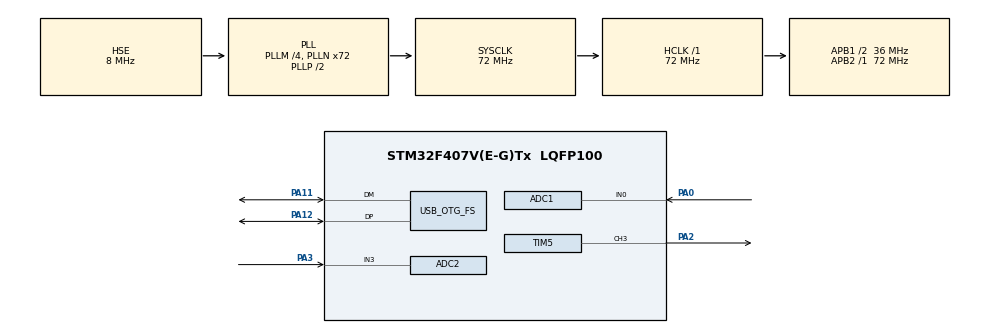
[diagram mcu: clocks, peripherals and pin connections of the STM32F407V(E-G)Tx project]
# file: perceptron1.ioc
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ADC1.Channel-0\#ChannelRegularConversion=ADC_CHANNEL_0
ADC1.ClockPrescaler=ADC_CLOCK_SYNC_PCLK_DIV4
ADC1.ContinuousConvMode=ENABLE
ADC1.NbrOfConversionFlag=1
ADC1.Rank-0\#ChannelRegularConversion=1
ADC1.SamplingTime-0\#ChannelRegularConversion=ADC_SAMPLETIME_3CYCLES
ADC1.master=1
ADC2.Channel-3\#ChannelRegularConversion=ADC_CHANNEL_3
ADC2.ClockPrescaler=ADC_CLOCK_SYNC_PCLK_DIV4
ADC2.NbrOfConversionFlag=1
ADC2.Rank-3\#ChannelRegularConversion=1
ADC2.SamplingTime-3\#ChannelRegularConversion=ADC_SAMPLETIME_3CYCLES
Mcu.Family=STM32F4
Mcu.Name=STM32F407V(E-G)Tx
Mcu.Package=LQFP100
NVIC.OTG_FS_IRQn=true\:0\:0\:false\:false\:true\:false\:true\:true
NVIC.PriorityGroup=NVIC_PRIORITYGROUP_4
PA0-WKUP.Signal=ADCx_IN0
PA11.Mode=Device_Only
PA11.Signal=USB_OTG_FS_DM
PA12.Mode=Device_Only
PA12.Signal=USB_OTG_FS_DP
PA13.Mode=Serial_Wire
PA13.Signal=SYS_JTMS-SWDIO
PA14.Mode=Serial_Wire
PA14.Signal=SYS_JTCK-SWCLK
PA2.Signal=S_TIM5_CH3
PA3.Signal=ADCx_IN3
PH0-OSC_IN.Mode=HSE-External-Oscillator
PH0-OSC_IN.Signal=RCC_OSC_IN
PH1-OSC_OUT.Mode=HSE-External-Oscillator
PH1-OSC_OUT.Signal=RCC_OSC_OUT
ProjectManager.HeapSize=0x200
ProjectManager.StackSize=0x400
ProjectManager.TargetToolchain=STM32CubeIDE
RCC.48MHZClocksFreq_Value=48000000
RCC.AHBFreq_Value=72000000
RCC.APB1CLKDivider=RCC_HCLK_DIV2
RCC.APB1Freq_Value=36000000
RCC.APB1TimFreq_Value=72000000
RCC.APB2Freq_Value=72000000
RCC.APB2TimFreq_Value=72000000
RCC.CortexFreq_Value=72000000
RCC.HCLKFreq_Value=72000000
RCC.HSE_VALUE=8000000
RCC.HSI_VALUE=16000000
RCC.LSE_VALUE=32768
RCC.PLLM=4
RCC.PLLN=72
RCC.PLLQ=3
RCC.PLLSourceVirtual=RCC_PLLSOURCE_HSE
RCC.SYSCLKFreq_VALUE=72000000
RCC.SYSCLKSource=RCC_SYSCLKSOURCE_PLLCLK
RCC.VCOOutputFreq_Value=144000000
SH.ADCx_IN0.0=ADC1_IN0,IN0
SH.ADCx_IN3.0=ADC2_IN3,IN3
SH.S_TIM5_CH3.0=TIM5_CH3,PWM Generation3 CH3
TIM2.AutoReloadPreload=TIM_AUTORELOAD_PRELOAD_DISABLE
TIM2.Period=10000-1
TIM2.Prescaler=72-1
TIM5.AutoReloadPreload=TIM_AUTORELOAD_PRELOAD_DISABLE
TIM5.Channel-PWM\ Generation3\ CH3=TIM_CHANNEL_3
TIM5.Period=10000-1
TIM5.Prescaler=72-1
TIM5.Pulse-PWM\ Generation3\ CH3=8000-1
USB_DEVICE.CLASS_NAME_FS=CDC
USB_DEVICE.VirtualMode-CDC_FS=Cdc
USB_DEVICE.VirtualModeFS=Cdc_FS
USB_OTG_FS.VirtualMode=Device_Only
VP_TIM2_VS_ClockSourceINT.Mode=Internal
VP_TIM5_VS_ClockSourceINT.Mode=Internal
VP_USB_DEVICE_VS_USB_DEVICE_CDC_FS.Mode=CDC_FS
board=custom

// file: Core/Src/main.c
/* USER CODE BEGIN Header */
/**
  ******************************************************************************
  * @file           : main.c
  * @brief          : Main program body
  ******************************************************************************
  * @attention
  *
  * Copyright (c) 2023 STMicroelectronics.
  * All rights reserved.
  *
  * This software is licensed under terms that can be found in the LICENSE file
  * in the root directory of this software component.
  * If no LICENSE file comes with this software, it is provided AS-IS.
  *
  ******************************************************************************
  */
/* USER CODE END Header */
#include "main.h"
#include "usb_device.h"

/* USER CODE BEGIN Includes */
//THİS İS AN AND GATE OPERATİON
#include "usb_device.h"
#include "usbd_cdc_if.h"
#include "string.h"
#include <stdio.h>
#include <stdlib.h>
#include<time.h>

/* USER CODE END Includes */

/* USER CODE BEGIN PTD */
#define input_size 2
typedef struct {
    double weights[input_size + 1];  // +1 for the bias term
} Perceptron;
volatile float weight_1;
volatile float weight_2;
volatile float voltage_1 = 0;
volatile float voltage_2=0;
/* USER CODE END PTD */

/* USER CODE BEGIN PD */
uint8_t buffer[3];
#define res_12bit 	4096
/* USER CODE END PD */

ADC_HandleTypeDef hadc1;
ADC_HandleTypeDef hadc2;

TIM_HandleTypeDef htim2;
TIM_HandleTypeDef htim5;

/* USER CODE BEGIN PV */
#define INPUT SIZE 2
/* USER CODE END PV */

void SystemClock_Config(void);
static void MX_GPIO_Init(void);
static void MX_ADC1_Init(void);
static void MX_TIM2_Init(void);
static void MX_ADC2_Init(void);
static void MX_TIM5_Init(void);

/* USER CODE BEGIN 0 */
int predict(Perceptron* percep, double inputs[]) {
    double sum = percep->weights[0];
    for (int i = 0; i < input_size; i++) {

        sum += inputs[i] * percep->weights[i + 1];
    }
    return (sum >= 0) ? 1 : 0;
}
void train(Perceptron* percep, double inputs[][input_size], int labels[], double learning_rate, int epochs, int num_examples) {
    for (int epoch = 0; epoch < epochs; epoch++) {
        for (int example = 0; example < num_examples; example++) {
            double prediction = predict(percep, inputs[example]);
            double error = labels[example] - prediction;
            percep->weights[0] += learning_rate * error;
            for (int i = 0; i < input_size; i++) {
                percep->weights[i + 1] += learning_rate * error * inputs[example][i];
            }
        }
    }
}

/* USER CODE END 0 */

int main(void)
{

  /* MCU Configuration--------------------------------------------------------*/

  /* Reset of all peripherals, Initializes the Flash interface and the Systick. */
  HAL_Init();

  /* Configure the system clock */
  SystemClock_Config();

  /* Initialize all configured peripherals */
  MX_GPIO_Init();
  MX_ADC1_Init();
  MX_TIM2_Init();
  MX_ADC2_Init();
  MX_TIM5_Init();
  MX_USB_DEVICE_Init();
  /* USER CODE BEGIN 2 */
  Perceptron percep;
  int count=0;
  HAL_TIM_PWM_Start(&htim2,TIM_CHANNEL_1);
  HAL_TIM_PWM_Start(&htim5,TIM_CHANNEL_3);

  /* USER CODE END 2 */

  /* Infinite loop */
  /* USER CODE BEGIN WHILE */

  while (1)
  {

	/*    double received_value_1= atof((char*)buffer); //trying to adjust buffer values to weights
	  percep.weights[1]= received_value_1;
	  double received_value_2 =atof((char*)buffer);
	  percep.weights[2]= received_value_2;
	  CDC_Transmit_FS(buffer,strlen(buffer));*/
	  HAL_ADC_Start(&hadc1);
      HAL_ADC_Start(&hadc2);

	  if (HAL_ADC_PollForConversion(&hadc1, 10) == HAL_OK) {
	 	  			 voltage_1 = HAL_ADC_GetValue(&hadc1)/ (float)res_12bit;
	 	  			 HAL_Delay(100);
	 	  }
	  if (HAL_ADC_PollForConversion(&hadc2, 10) == HAL_OK) {
	  				 voltage_2 = HAL_ADC_GetValue(&hadc2)/ (float)res_12bit;
	  				 HAL_Delay(1000);

	  }
	  HAL_ADC_Stop(&hadc1);
	  HAL_ADC_Stop(&hadc2);

	  if(count ==0)
	  {
      percep.weights[0]=voltage_1; //adjusting weights by pwm
	  percep.weights[1]=voltage_2;
double inputs[][input_size] = {
          {0, 0},
          {0, 1},
          {1, 0},
          {1, 1}
      };
      int labels_and[] = {0, 0, 0, 1};
      int num_examples = sizeof(inputs) / sizeof(inputs[0]);
      double learning_rate = 0.1;
      int epochs = 10;
      train(&percep, inputs, labels_and, learning_rate, epochs, num_examples);

      // Testing the perceptron
      double test_inputs[][input_size] = {
          {0, 0},
          {0, 1},
          {1, 0},
          {1, 1}
      };
      int num_test_examples = sizeof(test_inputs) / sizeof(test_inputs[0]);
      for (int i = 0; i < num_test_examples; i++) {
          int prediction = predict(&percep, test_inputs[i]);
          if(prediction==1)
        	  count++;
        }
      }
    /* USER CODE END WHILE */

      }
}

void SystemClock_Config(void)
{
  RCC_OscInitTypeDef RCC_OscInitStruct = {0};
  RCC_ClkInitTypeDef RCC_ClkInitStruct = {0};

  /** Configure the main internal regulator output voltage
  */
  __HAL_RCC_PWR_CLK_ENABLE();
  __HAL_PWR_VOLTAGESCALING_CONFIG(PWR_REGULATOR_VOLTAGE_SCALE1);

  /** Initializes the RCC Oscillators according to the specified parameters
  * in the RCC_OscInitTypeDef structure.
  */
  RCC_OscInitStruct.OscillatorType = RCC_OSCILLATORTYPE_HSE;
  RCC_OscInitStruct.HSEState = RCC_HSE_ON;
  RCC_OscInitStruct.PLL.PLLState = RCC_PLL_ON;
  RCC_OscInitStruct.PLL.PLLSource = RCC_PLLSOURCE_HSE;
  RCC_OscInitStruct.PLL.PLLM = 4;
  RCC_OscInitStruct.PLL.PLLN = 72;
  RCC_OscInitStruct.PLL.PLLP = RCC_PLLP_DIV2;
  RCC_OscInitStruct.PLL.PLLQ = 3;
  if (HAL_RCC_OscConfig(&RCC_OscInitStruct) != HAL_OK)
  {
    Error_Handler();
  }

  /** Initializes the CPU, AHB and APB buses clocks
  */
  RCC_ClkInitStruct.ClockType = RCC_CLOCKTYPE_HCLK|RCC_CLOCKTYPE_SYSCLK
                              |RCC_CLOCKTYPE_PCLK1|RCC_CLOCKTYPE_PCLK2;
  RCC_ClkInitStruct.SYSCLKSource = RCC_SYSCLKSOURCE_PLLCLK;
  RCC_ClkInitStruct.AHBCLKDivider = RCC_SYSCLK_DIV1;
  RCC_ClkInitStruct.APB1CLKDivider = RCC_HCLK_DIV2;
  RCC_ClkInitStruct.APB2CLKDivider = RCC_HCLK_DIV1;

  if (HAL_RCC_ClockConfig(&RCC_ClkInitStruct, FLASH_LATENCY_2) != HAL_OK)
  {
    Error_Handler();
  }
}

static void MX_ADC1_Init(void)
{

  ADC_ChannelConfTypeDef sConfig = {0};

  /** Configure the global features of the ADC (Clock, Resolution, Data Alignment and number of conversion)
  */
  hadc1.Instance = ADC1;
  hadc1.Init.ClockPrescaler = ADC_CLOCK_SYNC_PCLK_DIV4;
  hadc1.Init.Resolution = ADC_RESOLUTION_12B;
  hadc1.Init.ScanConvMode = DISABLE;
  hadc1.Init.ContinuousConvMode = ENABLE;
  hadc1.Init.DiscontinuousConvMode = DISABLE;
  hadc1.Init.ExternalTrigConvEdge = ADC_EXTERNALTRIGCONVEDGE_NONE;
  hadc1.Init.ExternalTrigConv = ADC_SOFTWARE_START;
  hadc1.Init.DataAlign = ADC_DATAALIGN_RIGHT;
  hadc1.Init.NbrOfConversion = 1;
  hadc1.Init.DMAContinuousRequests = DISABLE;
  hadc1.Init.EOCSelection = ADC_EOC_SINGLE_CONV;
  if (HAL_ADC_Init(&hadc1) != HAL_OK)
  {
    Error_Handler();
  }

  /** Configure for the selected ADC regular channel its corresponding rank in the sequencer and its sample time.
  */
  sConfig.Channel = ADC_CHANNEL_0;
  sConfig.Rank = 1;
  sConfig.SamplingTime = ADC_SAMPLETIME_3CYCLES;
  if (HAL_ADC_ConfigChannel(&hadc1, &sConfig) != HAL_OK)
  {
    Error_Handler();
  }

}

static void MX_ADC2_Init(void)
{

  ADC_ChannelConfTypeDef sConfig = {0};

  /** Configure the global features of the ADC (Clock, Resolution, Data Alignment and number of conversion)
  */
  hadc2.Instance = ADC2;
  hadc2.Init.ClockPrescaler = ADC_CLOCK_SYNC_PCLK_DIV4;
  hadc2.Init.Resolution = ADC_RESOLUTION_12B;
  hadc2.Init.ScanConvMode = DISABLE;
  hadc2.Init.ContinuousConvMode = DISABLE;
  hadc2.Init.DiscontinuousConvMode = DISABLE;
  hadc2.Init.ExternalTrigConvEdge = ADC_EXTERNALTRIGCONVEDGE_NONE;
  hadc2.Init.ExternalTrigConv = ADC_SOFTWARE_START;
  hadc2.Init.DataAlign = ADC_DATAALIGN_RIGHT;
  hadc2.Init.NbrOfConversion = 1;
  hadc2.Init.DMAContinuousRequests = DISABLE;
  hadc2.Init.EOCSelection = ADC_EOC_SINGLE_CONV;
  if (HAL_ADC_Init(&hadc2) != HAL_OK)
  {
    Error_Handler();
  }

  /** Configure for the selected ADC regular channel its corresponding rank in the sequencer and its sample time.
  */
  sConfig.Channel = ADC_CHANNEL_3;
  sConfig.Rank = 1;
  sConfig.SamplingTime = ADC_SAMPLETIME_3CYCLES;
  if (HAL_ADC_ConfigChannel(&hadc2, &sConfig) != HAL_OK)
  {
    Error_Handler();
  }

}

static void MX_TIM2_Init(void)
{

  TIM_ClockConfigTypeDef sClockSourceConfig = {0};
  TIM_MasterConfigTypeDef sMasterConfig = {0};

  htim2.Instance = TIM2;
  htim2.Init.Prescaler = 72-1;
  htim2.Init.CounterMode = TIM_COUNTERMODE_UP;
  htim2.Init.Period = 10000-1;
  htim2.Init.ClockDivision = TIM_CLOCKDIVISION_DIV1;
  htim2.Init.AutoReloadPreload = TIM_AUTORELOAD_PRELOAD_DISABLE;
  if (HAL_TIM_Base_Init(&htim2) != HAL_OK)
  {
    Error_Handler();
  }
  sClockSourceConfig.ClockSource = TIM_CLOCKSOURCE_INTERNAL;
  if (HAL_TIM_ConfigClockSource(&htim2, &sClockSourceConfig) != HAL_OK)
  {
    Error_Handler();
  }
  sMasterConfig.MasterOutputTrigger = TIM_TRGO_RESET;
  sMasterConfig.MasterSlaveMode = TIM_MASTERSLAVEMODE_DISABLE;
  if (HAL_TIMEx_MasterConfigSynchronization(&htim2, &sMasterConfig) != HAL_OK)
  {
    Error_Handler();
  }

}

static void MX_TIM5_Init(void)
{

  TIM_ClockConfigTypeDef sClockSourceConfig = {0};
  TIM_MasterConfigTypeDef sMasterConfig = {0};
  TIM_OC_InitTypeDef sConfigOC = {0};

  htim5.Instance = TIM5;
  htim5.Init.Prescaler = 72-1;
  htim5.Init.CounterMode = TIM_COUNTERMODE_UP;
  htim5.Init.Period = 10000-1;
  htim5.Init.ClockDivision = TIM_CLOCKDIVISION_DIV1;
  htim5.Init.AutoReloadPreload = TIM_AUTORELOAD_PRELOAD_DISABLE;
  if (HAL_TIM_Base_Init(&htim5) != HAL_OK)
  {
    Error_Handler();
  }
  sClockSourceConfig.ClockSource = TIM_CLOCKSOURCE_INTERNAL;
  if (HAL_TIM_ConfigClockSource(&htim5, &sClockSourceConfig) != HAL_OK)
  {
    Error_Handler();
  }
  if (HAL_TIM_PWM_Init(&htim5) != HAL_OK)
  {
    Error_Handler();
  }
  sMasterConfig.MasterOutputTrigger = TIM_TRGO_RESET;
  sMasterConfig.MasterSlaveMode = TIM_MASTERSLAVEMODE_DISABLE;
  if (HAL_TIMEx_MasterConfigSynchronization(&htim5, &sMasterConfig) != HAL_OK)
  {
    Error_Handler();
  }
  sConfigOC.OCMode = TIM_OCMODE_PWM1;
  sConfigOC.Pulse = 8000-1;
  sConfigOC.OCPolarity = TIM_OCPOLARITY_HIGH;
  sConfigOC.OCFastMode = TIM_OCFAST_DISABLE;
  if (HAL_TIM_PWM_ConfigChannel(&htim5, &sConfigOC, TIM_CHANNEL_3) != HAL_OK)
  {
    Error_Handler();
  }
  HAL_TIM_MspPostInit(&htim5);

}

static void MX_GPIO_Init(void)
{

  /* GPIO Ports Clock Enable */
  __HAL_RCC_GPIOH_CLK_ENABLE();
  __HAL_RCC_GPIOA_CLK_ENABLE();

}

void Error_Handler(void)
{
  __disable_irq();
  while (1)
  {
  }
}
